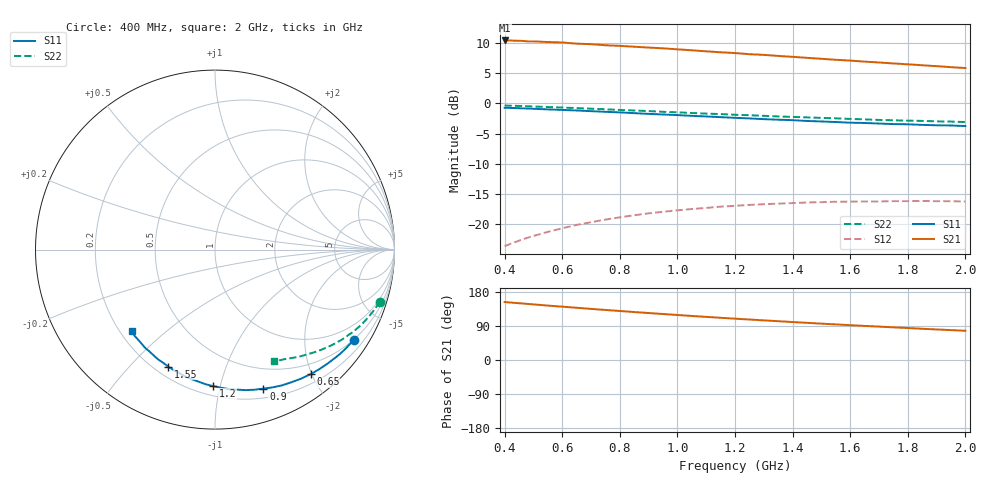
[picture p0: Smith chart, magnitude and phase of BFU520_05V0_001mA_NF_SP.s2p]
! Filename:  P:\Prog\Test\Noise\ATS_data\Testdata_Net\06 Compressed Noise after Statistics\BFU520_APG2013_37_A05_05p0V_001mA_NF_CM01_D.sf
! Date/Time: Fri 26/Apr/2013 14:13:09
! BFU520_APG2013_37_A05_05p0V_1to20mA_NF_CM01_Bias1_R.sf
! Noise Parameter Data File
! BFU520_APG2013_37_A05_05p0V_1to20mA_NF_CM01
! Date/time: Tue Apr 23 16:46:24 2013
! freq range =  0.4000 to  2.0000 GHz, 37 points
! bias range =  0.9950 to 19.9950 mA, 8 points
! bias supplies used: 1 1 0 0 0 0
! VAR bias_mode= 1  ! Specify V_out, I_out
! VAR bias_var = 1  ! Bias variable = I_out
! VAR V_out= 5.001000
! VAR I_out= 0.995000
! VAR V_in= 0.791100
! VAR I_in= 0.011001
! Device data file deembeded for feedlines and parallel
! Original file: \06 Compressed Noise after Statistics\BFU520_APG2013_37_A05_05p0V_001mA_NF_CM01_R.sf
! Feed-files: PR047V01_250413_Feed1.s2p, PR047V01_250413_Feed2.s2p
! Parallel-file: PR047V01_250413_Par.s2p
# MHz S MA R 50
!  Freq-MHz  S11-mag  S11-arg  S21-mag  S21-arg  S12-mag  S12-arg  S22-mag  S22-arg
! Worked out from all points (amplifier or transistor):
!   37 points, 400 MHz to 2 GHz, reference 50 ohm
!   highest |S21| = 10.4 dB at 400 MHz (marker M1)
!   |S21| within 3 dB of that: start of sweep to 1.488 GHz
!   unconditionally stable (mu >= 1): nowhere
!   at 500 MHz: K = 0.13, MSG = 16.1 dB, |S12| = -21.9 dB
!   at 1.1 GHz: K = 0.27, MSG = 13.0 dB, |S12| = -17.3 dB
!   at 2 GHz: K = 0.49, MSG = 11.1 dB, |S12| = -16.2 dB
!   lowest NFmin = 0.39 dB at 1.8 GHz
!   S11 on the Smith chart (normalised r, x): 400 MHz: 0.49, -3.30; 650 MHz: 0.33, -1.98; 900 MHz: 0.29, -1.37; 1.2 GHz: 0.26, -0.95; 1.55 GHz: 0.25, -0.65; 2 GHz: 0.25, -0.39
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400  0.9218 -33.1  3.325 153.0  0.06579 68.2  0.9616 -17.6
460  0.9114 -37.9  3.298 149.2  0.07454 65.1  0.9527 -20.0
480  0.9083 -39.4  3.268 148.0  0.07723 64.1  0.9479 -20.8
500  0.9038 -41.0  3.267 146.8  0.07998 63.1  0.9445 -21.6
550  0.8931 -45.1  3.228 143.6  0.08633 60.6  0.9342 -23.6
600  0.8839 -48.9  3.2 140.7  0.09262 58.3  0.9252 -25.4
650  0.8749 -52.5  3.129 137.8  0.09865 56.0  0.9157 -27.3
700  0.8635 -56.5  3.098 134.8  0.1039 53.7  0.9049 -29.1
750  0.853 -60.0  3.036 132.1  0.1092 51.6  0.8954 -30.8
800  0.8435 -63.8  2.999 129.3  0.114 49.5  0.8835 -32.5
900  0.82 -70.8  2.904 123.9  0.123 45.5  0.8651 -35.6
950  0.8107 -74.4  2.863 121.3  0.1267 43.4  0.8531 -37.3
1050  0.7897 -81.1  2.757 116.2  0.1336 39.7  0.8338 -40.3
1200  0.7603 -90.9  2.615 109.0  0.142 34.5  0.8062 -44.4
1250  0.7519 -93.9  2.559 106.8  0.1445 33.0  0.7994 -45.4
1300  0.7417 -97.0  2.526 104.6  0.1464 31.4  0.7898 -46.9
1500  0.7096 -109.0  2.344 95.9  0.1523 25.5  0.7596 -51.6
1550  0.702 -111.7  2.3 93.9  0.1534 24.1  0.7533 -52.7
1600  0.6934 -114.7  2.265 91.8  0.1539 22.7  0.7447 -54.0
1750  0.6748 -122.8  2.146 86.1  0.1553 19.1  0.7257 -57.1
1850  0.6648 -128.0  2.072 82.4  0.1559 16.9  0.7172 -59.1
2000  0.6499 -135.4  1.964 77.1  0.1541 13.7  0.7012 -62.2
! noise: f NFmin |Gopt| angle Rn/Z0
400  0.5116  0.7121  20.01  0.3537
460  0.5265  0.6595  24.17  0.349
600  0.5584  0.6791  28.23  0.3446
800  0.6361  0.645  40.25  0.3303
1000  0.6627  0.6515  50.86  0.3156
1200  0.7194  0.6373  59.89  0.314
1400  0.7595  0.6005  71.6  0.2515
1600  0.8081  0.5428  86.59  0.1867
1800  0.3854  0.5343  95.94  0.1147
2000  0.9618  0.5993  105.9  0.1804
